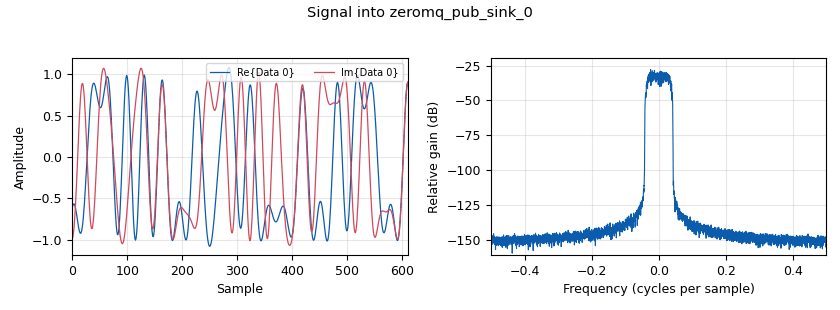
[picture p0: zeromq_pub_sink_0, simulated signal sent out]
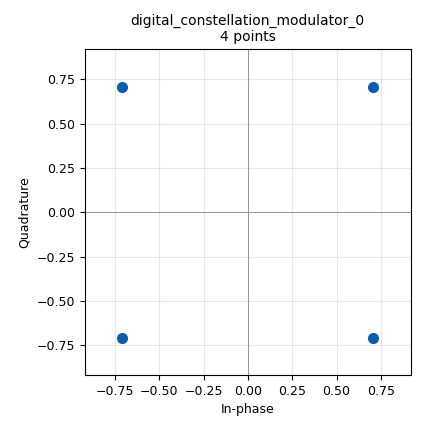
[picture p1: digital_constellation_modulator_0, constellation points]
options:
  parameters:
    category: Custom
    generate_options: qt_gui
    id: QPSK_Tx
    output_language: python
  states: {}

blocks:
- name: qpsk
  id: variable_constellation_rect
  parameters:
    const_points: '[0.707+0.707j, -0.707+0.707j, -0.707-0.707j, 0.707-0.707j]'
    imag_sect: '2'
    real_sect: '2'
    rot_sym: '4'
    sym_map: symbol_map
    w_imag_sect: '1'
    w_real_sect: '1'
  states: {}
- name: symbol_map
  id: variable
  parameters:
    value: '[0,1,2,3]'
  states: {}
- name: tx_gain
  id: variable_qtgui_range
  parameters:
    gui_hint: 0,0,1,1
    orient: Qt.Horizontal
    start: '0'
    step: '1'
    stop: '50'
    value: '50'
  states: {}
- name: analog_random_source_x_0
  id: analog_random_source_x
  parameters:
    max: '256'
    min: '0'
    num_samps: '1000'
    repeat: 'True'
    type: byte
  states: {}
- name: blocks_file_source_0
  id: blocks_file_source
  parameters:
    file: /home/bd4sur/in.txt
    repeat: 'False'
    type: byte
  states: {state: disabled}
- name: blocks_pdu_to_tagged_stream_0
  id: blocks_pdu_to_tagged_stream
  parameters:
    tag: packet_len
    type: byte
  states: {state: disabled}
- name: blocks_vector_source_x_0
  id: blocks_vector_source_x
  parameters:
    repeat: 'True'
    type: byte
    vector: range(0,256)
  states: {state: disabled}
- name: digital_constellation_modulator_0
  id: digital_constellation_modulator
  parameters:
    constellation: qpsk
    differential: 'True'
    excess_bw: '0.35'
    samples_per_symbol: '16'
  states: {}
- name: digital_crc32_async_bb_1
  id: digital_crc32_async_bb
  parameters:
    check: 'False'
  states: {}
- name: epy_block_0
  id: epy_block
  parameters:
    _source_code: "import numpy as np\nfrom gnuradio import gr\nimport pmt\nimport asyncio\nimport time\nimport random\n\n\n\nclass blk(gr.sync_block):\n\n    def __init__(self, interval=0.5, repeat_times=10):\n        gr.sync_block.__init__(\n            self,\n            name = 'File to PDU',\n            in_sig = [np.uint8],\n            out_sig = None\n        )\n        self.interval = interval\n        if repeat_times < 1: repeat_times = 1\n        self.repeat_times = repeat_times\n\n        self.message_port_register_out(pmt.intern(\"message_out\"))\n        self.output_message = None\n\n    async def delay(self, time):\n        await asyncio.sleep(time)\n\n    async def timer(self, time, func):\n        #while True:\n        future = asyncio.ensure_future(self.delay(time))\n        await future\n        future.add_done_callback(func)\n        self.repeat_times -= 1\n        if(self.repeat_times > 0):\n            await self.timer(time, func)\n\n    def func(self, future):\n        print(\"PDU Strobe\")\n        self.message_port_pub(pmt.intern(\"message_out\"), self.output_message)\n\n    def work(self, input_items, output_items):\n        file_array = input_items[0]\n        # header_array = np.array([66, 68, 52, 83, 85, 82])\n        output_array = file_array # np.append(header_array, file_array)\n        output_list = output_array.tolist()\n        self.output_message = pmt.cons(pmt.PMT_NIL, pmt.init_u8vector(len(output_list), (output_list)))\n        # self.message_port_pub(pmt.intern(\"message_out\"), output_message)\n        \n        asyncio.run(self.timer(self.interval, self.func))\n\n        return len(input_items[0])\n\n\n\n\n"
    interval: '0.5'
    repeat_times: '50'
  states: {state: disabled}
- name: import_0
  id: import
  parameters:
    imports: import numpy
  states: {}
- name: kc_sdr_transmitter_0
  id: kc_sdr_transmitter
  parameters:
    att: '0'
    bandwidth: int(2e6)
    cent_freq: int(439e6)
    ifgain: tx_gain
    port: '1'
  states: {state: disabled}
- name: packet_format_gr38
  id: epy_block
  parameters:
    _source_code: |
      """
      Embedded Python Block
      """

      import numpy as np
      from gnuradio import gr
      import pmt
      import array
      class blk(gr.sync_block):
          """Packet Format"""

          def __init__(self):
              gr.sync_block.__init__(self,
                  name = "Packet Format GR38",
                  in_sig = None,
                  out_sig = None)
              self.message_port_register_in(pmt.intern('PDU_in'))
              self.message_port_register_out(pmt.intern('PDU_out0'))
              self.set_msg_handler(pmt.intern('PDU_in'), self.handle_msg)

          def handle_msg(self, msg):
              inMsg = pmt.to_python (msg)
              pld = inMsg[1] ## type-> numpy.ndarray
              mLen = len(pld)
              if (mLen > 0):
                  ## create a numpy array of type 'int' with preamble and sync word
                  tmp_char_list = np.array([85,85,85,85,85,85,85,85,85,85,85,85,85,85,85,85,85,85,85,85,85,85,85,85,85,85,85,85,85,85,85,85,225,90,232,147],dtype=int)
                  ## append length 2x
                  tmp_char_list=np.append(tmp_char_list,(mLen >> 8))
                  tmp_char_list=np.append(tmp_char_list,(mLen & 255))
                  tmp_char_list=np.append(tmp_char_list,(mLen >> 8))
                  tmp_char_list=np.append(tmp_char_list,(mLen & 255))
                  tmp_char_list_len=len(tmp_char_list)
                  ## append original payload
                  new_char_list=np.insert(tmp_char_list,tmp_char_list_len,pld)
                  new_char_list_len=len(new_char_list)
                  ## save final numpy array as byte array (requires 'import array')
                  byte_array_new_char_list=array.array('B',new_char_list)
                  new_bytes_out_len = len(byte_array_new_char_list)
                  ## create PMT u8vector using byte array
                  new_out_bytes_pmt=pmt.cons(pmt.PMT_NIL,pmt.init_u8vector(new_bytes_out_len,(byte_array_new_char_list)))
                  self.message_port_pub(pmt.intern('PDU_out0'), new_out_bytes_pmt)
  states: {}
- name: zeromq_pub_sink_0
  id: zeromq_pub_sink
  parameters:
    address: tcp://127.0.0.1:49203
    comment: USRP sample rate = 768kHz
    timeout: '100'
    type: complex
  states: {}

connections:
- [analog_random_source_x_0, '0', digital_constellation_modulator_0, '0']
- [blocks_file_source_0, '0', epy_block_0, '0']
- [blocks_pdu_to_tagged_stream_0, '0', digital_constellation_modulator_0, '0']
- [blocks_vector_source_x_0, '0', digital_constellation_modulator_0, '0']
- [digital_constellation_modulator_0, '0', kc_sdr_transmitter_0, '0']
- [digital_constellation_modulator_0, '0', zeromq_pub_sink_0, '0']
- [digital_crc32_async_bb_1, out, packet_format_gr38, PDU_in]
- [epy_block_0, message_out, digital_crc32_async_bb_1, in]
- [packet_format_gr38, PDU_out0, blocks_pdu_to_tagged_stream_0, pdus]

metadata:
  file_format: 1
